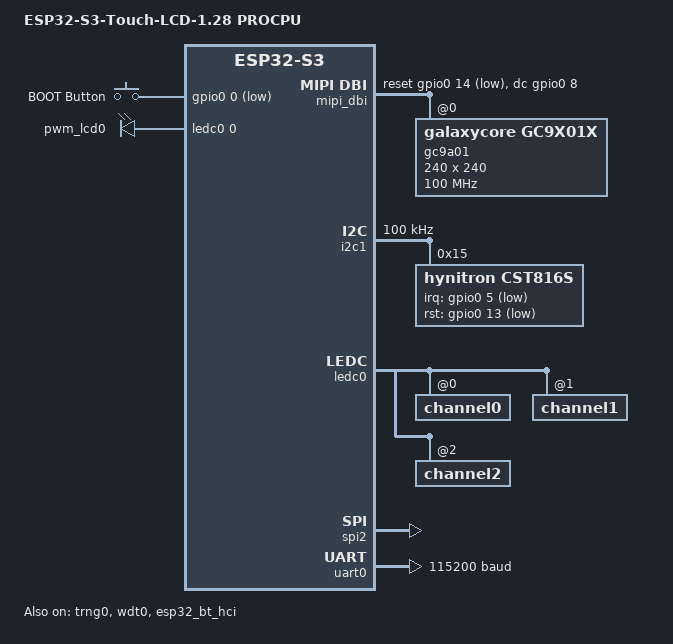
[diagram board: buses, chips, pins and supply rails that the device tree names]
/*
 * Copyright (c) 2024 Joel Guittet
 * SPDX-License-Identifier: Apache-2.0
 */

/dts-v1/;
#include <espressif/esp32s3/esp32s3_r2.dtsi>
#include "esp32s3_touch_lcd_1_28-pinctrl.dtsi"
#include <zephyr/dt-bindings/display/panel.h>
#include <zephyr/dt-bindings/input/input-event-codes.h>
#include <zephyr/dt-bindings/pwm/pwm.h>
#include <espressif/partitions_0x0_amp.dtsi>

/ {
	model = "ESP32-S3-Touch-LCD-1.28 PROCPU";
	compatible = "waveshare,esp32-s3-touch-lcd-1.28";

	aliases {
		i2c-1 = &i2c1;
		pwm-0 = &ledc0;
		pwm-lcd0 = &pwm_lcd0;
		sw0 = &button0;
		uart-0 = &uart0;
		watchdog0 = &wdt0;
	};

	chosen {
		zephyr,sram = &sram1;
		zephyr,console = &uart0;
		zephyr,shell-uart = &uart0;
		zephyr,flash = &flash0;
		zephyr,code-partition = &slot0_partition;
		zephyr,display = &gc9a01;
		zephyr,bt-hci = &esp32_bt_hci;
		zephyr,touch = &cst816s;
	};

	/* Buttons */
	buttons {
		compatible = "gpio-keys";
		button0: button_0 {
			gpios = <&gpio0 0 (GPIO_PULL_UP | GPIO_ACTIVE_LOW)>;
			label = "BOOT Button";
			zephyr,code = <INPUT_KEY_0>;
		};
	};

	/* Touch Controller */
	lvgl_pointer {
		compatible = "zephyr,lvgl-pointer-input";
		input = <&cst816s>;
	};

	/* PWM */
	pwmleds {
		compatible = "pwm-leds";
		pwm_lcd0: pwm_lcd0 {
			pwms = <&ledc0 0 PWM_HZ(250) PWM_POLARITY_NORMAL>;
		};
	};

	/* MIPI DBI */
	mipi_dbi {
		compatible = "zephyr,mipi-dbi-spi";
		spi-dev = <&spi2>;
		dc-gpios = <&gpio0 8 GPIO_ACTIVE_HIGH>;
		reset-gpios = <&gpio0 14 GPIO_ACTIVE_LOW>;
		write-only;
		#address-cells = <1>;
		#size-cells = <0>;

		gc9a01: gc9a01@0 {
			status = "okay";
			compatible = "galaxycore,gc9x01x";
			reg = <0>;
			mipi-max-frequency = <100000000>;
			pixel-format = <PANEL_PIXEL_FORMAT_RGB_888>;
			display-inversion;
			width = <240>;
			height = <240>;
		};
	};
};

&flash0 {
	reg = <0x0 DT_SIZE_M(16)>;
};

&gpio0 {
	status = "okay";
};

&gpio1 {
	status = "okay";
};

&i2c1 {
	status ="okay";
	clock-frequency = <I2C_BITRATE_STANDARD>;
	pinctrl-0 = <&i2c1_default>;
	pinctrl-names = "default";

	/* Hynitron CST816S Capacitive Touch Controller */
	cst816s: cst816s@15 {
		status = "okay";
		compatible = "hynitron,cst816s";
		reg = <0x15>;
		irq-gpios = <&gpio0 5 (GPIO_PULL_UP | GPIO_ACTIVE_LOW)>;
		rst-gpios = <&gpio0 13 GPIO_ACTIVE_LOW>;
	};
};

&ledc0 {
	status = "okay";
	pinctrl-0 = <&ledc0_default>;
	pinctrl-names = "default";
	#address-cells = <1>;
	#size-cells = <0>;
	channel0@0 {
		reg = <0x0>;
		timer = <0>;
	};
	channel1@1 {
		reg = <0x1>;
		timer = <1>;
	};
	channel2@2 {
		reg = <0x2>;
		timer = <2>;
	};
};

&spi2 {
	status = "okay";
	#address-cells = <1>;
	#size-cells = <0>;
	pinctrl-0 = <&spim2_default>;
	pinctrl-names = "default";
	cs-gpios = <&gpio0 9 GPIO_ACTIVE_LOW>;
};

&trng0 {
	status = "okay";
};

&uart0 {
	status = "okay";
	current-speed = <115200>;
	pinctrl-0 = <&uart0_default>;
	pinctrl-names = "default";
};

&wdt0 {
	status = "okay";
};

&esp32_bt_hci {
	status = "okay";
};
